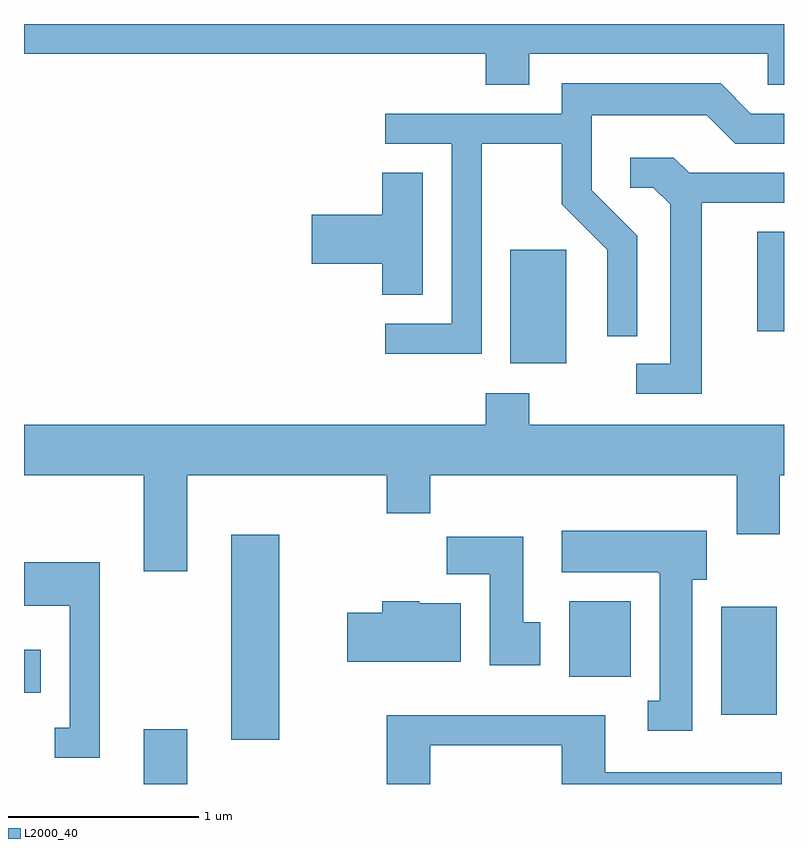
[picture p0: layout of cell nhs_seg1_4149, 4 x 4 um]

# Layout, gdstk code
import gdstk
lib = gdstk.Library(unit=1e-6, precision=1e-09)
def R(c, l, rs):  # rectangles x0, y0, x1, y1
    for r in rs: c.add(gdstk.rectangle(r[:2], r[2:], *l))
def P(c, l, *ps):  # polygons
    for p in ps: c.add(gdstk.Polygon(p, *l))
L2000_40 = (2000, 40)

nhs_seg1_4149 = lib.new_cell('nhs_seg1_4149')
R(nhs_seg1_4149, L2000_40, [(310.241,915.712,310.469,915.999), (310.701,915.946,310.954,917.024), (313.281,916.076,313.574,916.644), (309.611,916.191,309.699,916.419), (312.481,916.276,312.804,916.674), (312.171,917.926,312.464,918.524), (313.471,918.096,313.611,918.619)])
P(nhs_seg1_4149, L2000_40, [(312.269,919.556),(313.526,919.556),(313.526,919.391),(313.611,919.391),(313.611,919.712),(309.611,919.712),(309.611,919.556),(312.041,919.556),(312.041,919.391),(312.269,919.391)],
  [(312.019,919.081),(312.441,919.081),(312.441,918.764),(312.681,918.524),(312.681,918.068),(312.839,918.068),(312.839,918.597),(312.599,918.837),(312.599,919.231),(313.204,919.231),(313.354,919.081),(313.611,919.081),(313.611,919.239),(313.437,919.239),(313.277,919.399),(312.441,919.399),(312.441,919.239),(311.513,919.239),(311.513,919.081),(311.861,919.081),(311.861,918.134),(311.513,918.134),(311.513,917.976),(312.019,917.976)],
  [(313.179,918.771),(313.611,918.771),(313.611,918.929),(313.112,918.929),(313.032,919.009),(312.803,919.009),(312.803,918.851),(312.924,918.851),(313.011,918.764),(313.011,917.924),(312.833,917.924),(312.833,917.766),(313.179,917.766)],
  [(311.709,918.929),(311.496,918.929),(311.496,918.709),(311.126,918.709),(311.126,918.451),(311.496,918.451),(311.496,918.286),(311.709,918.286)],
  [(310.469,917.336),(311.521,917.336),(311.521,917.136),(311.749,917.136),(311.749,917.336),(313.361,917.336),(313.361,917.026),(313.589,917.026),(313.589,917.336),(313.611,917.336),(313.611,917.604),(312.269,917.604),(312.269,917.769),(312.041,917.769),(312.041,917.604),(309.611,917.604),(309.611,917.336),(310.241,917.336),(310.241,916.831),(310.469,916.831)],
  [(313.129,916.786),(313.204,916.786),(313.204,917.044),(312.441,917.044),(312.441,916.826),(312.95,916.826),(312.95,916.82),(312.956,916.82),(312.956,916.149),(312.893,916.149),(312.893,915.991),(313.129,915.991)],
  [(312.329,916.564),(312.239,916.564),(312.239,917.014),(311.836,917.014),(311.836,916.816),(312.061,916.816),(312.061,916.336),(312.329,916.336)],
  [(310.009,916.879),(309.611,916.879),(309.611,916.651),(309.851,916.651),(309.851,916.009),(309.773,916.009),(309.773,915.851),(310.009,915.851)],
  [(311.909,916.664),(311.69,916.664),(311.69,916.674),(311.496,916.674),(311.496,916.614),(311.311,916.614),(311.311,916.356),(311.909,916.356)],
  [(311.749,915.916),(312.441,915.916),(312.441,915.712),(313.598,915.712),(313.598,915.774),(312.669,915.774),(312.669,916.074),(311.521,916.074),(311.521,915.712),(311.749,915.712)])

lib.write_gds('nhs_seg1_4149.gds')
